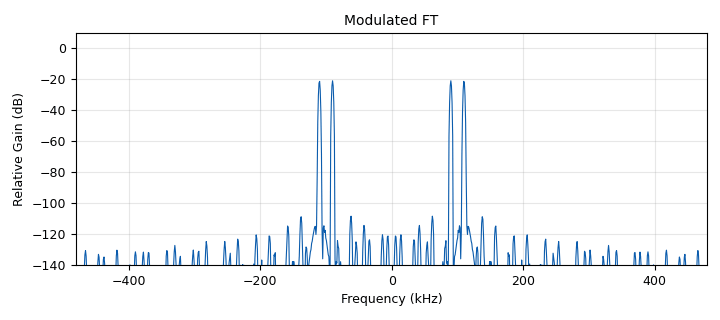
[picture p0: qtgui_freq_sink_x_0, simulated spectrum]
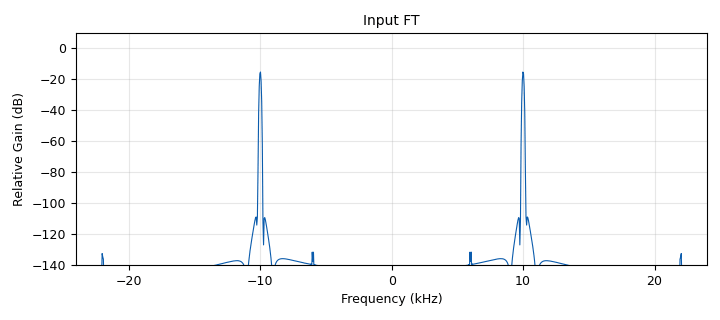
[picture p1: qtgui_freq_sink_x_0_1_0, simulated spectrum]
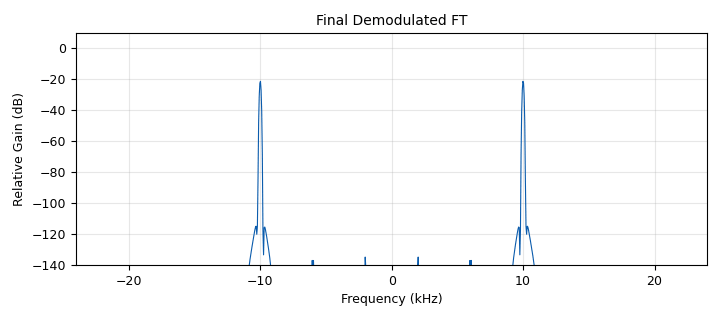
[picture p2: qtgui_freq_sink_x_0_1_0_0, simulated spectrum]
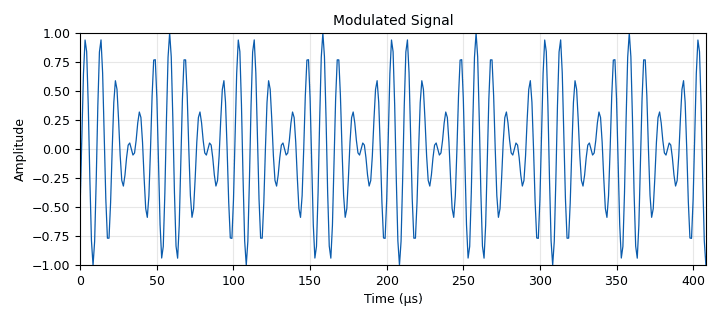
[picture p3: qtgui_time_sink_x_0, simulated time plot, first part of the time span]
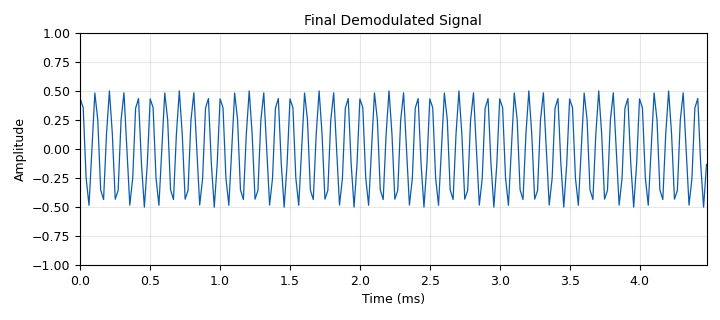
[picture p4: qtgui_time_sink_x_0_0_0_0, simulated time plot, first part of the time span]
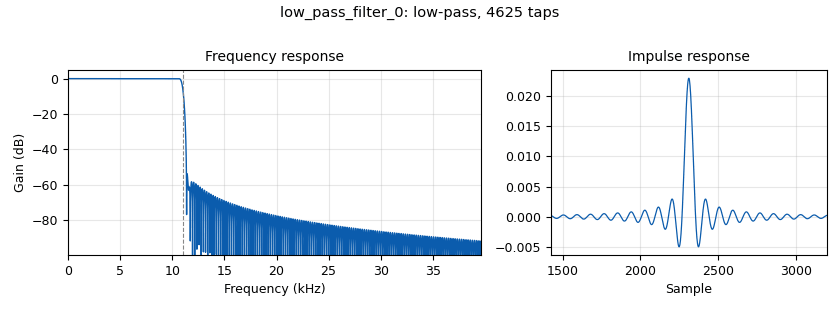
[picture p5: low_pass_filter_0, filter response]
options:
  parameters:
    generate_options: qt_gui
    id: dsbsc
    output_language: python
    title: DSB-SC
  states: {}

blocks:
- name: audio_rate
  id: variable
  parameters:
    value: '48000'
  states: {}
- name: quadrature_rate
  id: variable
  parameters:
    value: '960000'
  states: {}
- name: analog_sig_source_x_0
  id: analog_sig_source_x
  parameters:
    amp: '1'
    freq: '10000'
    offset: '0'
    phase: '0'
    samp_rate: audio_rate
    type: float
    waveform: analog.GR_COS_WAVE
  states: {}
- name: analog_sig_source_x_1
  id: analog_sig_source_x
  parameters:
    amp: '1'
    freq: '100000'
    offset: '0'
    phase: '0'
    samp_rate: quadrature_rate
    type: float
    waveform: analog.GR_COS_WAVE
  states: {}
- name: analog_sig_source_x_1_0
  id: analog_sig_source_x
  parameters:
    amp: '1'
    freq: '100000'
    offset: '0'
    phase: '0'
    samp_rate: quadrature_rate
    type: float
    waveform: analog.GR_COS_WAVE
  states: {}
- name: audio_sink_0
  id: audio_sink
  parameters:
    samp_rate: '48000'
  states: {state: disabled}
- name: audio_sink_0_0
  id: audio_sink
  parameters:
    samp_rate: '48000'
  states: {state: disabled}
- name: blocks_multiply_xx_0
  id: blocks_multiply_xx
  parameters:
    type: float
  states: {}
- name: blocks_multiply_xx_1
  id: blocks_multiply_xx
  parameters:
    type: float
  states: {}
- name: blocks_wavfile_source_0
  id: blocks_wavfile_source
  parameters:
    file: /home/rohan/Desktop/EE340/Lab1/background.wav
    repeat: 'True'
  states: {state: disabled}
- name: low_pass_filter_0
  id: low_pass_filter
  parameters:
    cutoff_freq: '11000'
    gain: '1'
    interp: '1'
    samp_rate: quadrature_rate
    type: interp_fir_filter_fff
    width: '500'
    win: window.WIN_HAMMING
  states: {}
- name: qtgui_freq_sink_x_0
  id: qtgui_freq_sink_x
  parameters:
    bw: quadrature_rate
    fc: '0'
    fftsize: '1024'
    name: Modulated FT
    type: float
  states: {}
- name: qtgui_freq_sink_x_0_1
  id: qtgui_freq_sink_x
  parameters:
    bw: quadrature_rate
    fc: '0'
    fftsize: '1024'
    type: float
  states: {state: disabled}
- name: qtgui_freq_sink_x_0_1_0
  id: qtgui_freq_sink_x
  parameters:
    bw: audio_rate
    fc: '0'
    fftsize: '1024'
    name: Input FT
    type: float
  states: {}
- name: qtgui_freq_sink_x_0_1_0_0
  id: qtgui_freq_sink_x
  parameters:
    bw: audio_rate
    fc: '0'
    fftsize: '1024'
    name: Final Demodulated FT
    type: float
  states: {}
- name: qtgui_time_sink_x_0
  id: qtgui_time_sink_x
  parameters:
    name: Modulated Signal
    size: '1024'
    srate: quadrature_rate
    type: float
  states: {}
- name: qtgui_time_sink_x_0_0
  id: qtgui_time_sink_x
  parameters:
    size: '1024'
    srate: quadrature_rate
    type: float
  states: {state: disabled}
- name: qtgui_time_sink_x_0_0_0
  id: qtgui_time_sink_x
  parameters:
    size: '1024'
    srate: audio_rate
    type: float
  states: {state: disabled}
- name: qtgui_time_sink_x_0_0_0_0
  id: qtgui_time_sink_x
  parameters:
    name: Final Demodulated Signal
    size: '1024'
    srate: audio_rate
    type: float
  states: {}
- name: rational_resampler_xxx_0
  id: rational_resampler_xxx
  parameters:
    decim: audio_rate
    interp: quadrature_rate
    type: fff
  states: {}
- name: rational_resampler_xxx_0_0
  id: rational_resampler_xxx
  parameters:
    decim: quadrature_rate
    interp: audio_rate
    type: fff
  states: {}

connections:
- [analog_sig_source_x_0, '0', qtgui_freq_sink_x_0_1_0, '0']
- [analog_sig_source_x_0, '0', qtgui_time_sink_x_0_0_0, '0']
- [analog_sig_source_x_0, '0', rational_resampler_xxx_0, '0']
- [analog_sig_source_x_1, '0', blocks_multiply_xx_0, '1']
- [analog_sig_source_x_1_0, '0', blocks_multiply_xx_1, '1']
- [blocks_multiply_xx_0, '0', blocks_multiply_xx_1, '0']
- [blocks_multiply_xx_0, '0', qtgui_freq_sink_x_0, '0']
- [blocks_multiply_xx_0, '0', qtgui_time_sink_x_0, '0']
- [blocks_multiply_xx_1, '0', low_pass_filter_0, '0']
- [blocks_multiply_xx_1, '0', qtgui_freq_sink_x_0_1, '0']
- [blocks_multiply_xx_1, '0', qtgui_time_sink_x_0_0, '0']
- [blocks_wavfile_source_0, '0', audio_sink_0_0, '0']
- [blocks_wavfile_source_0, '0', qtgui_freq_sink_x_0_1_0, '0']
- [blocks_wavfile_source_0, '0', qtgui_time_sink_x_0_0_0, '0']
- [blocks_wavfile_source_0, '0', rational_resampler_xxx_0, '0']
- [low_pass_filter_0, '0', rational_resampler_xxx_0_0, '0']
- [rational_resampler_xxx_0, '0', blocks_multiply_xx_0, '0']
- [rational_resampler_xxx_0_0, '0', audio_sink_0, '0']
- [rational_resampler_xxx_0_0, '0', qtgui_freq_sink_x_0_1_0_0, '0']
- [rational_resampler_xxx_0_0, '0', qtgui_time_sink_x_0_0_0_0, '0']

metadata:
  file_format: 1
